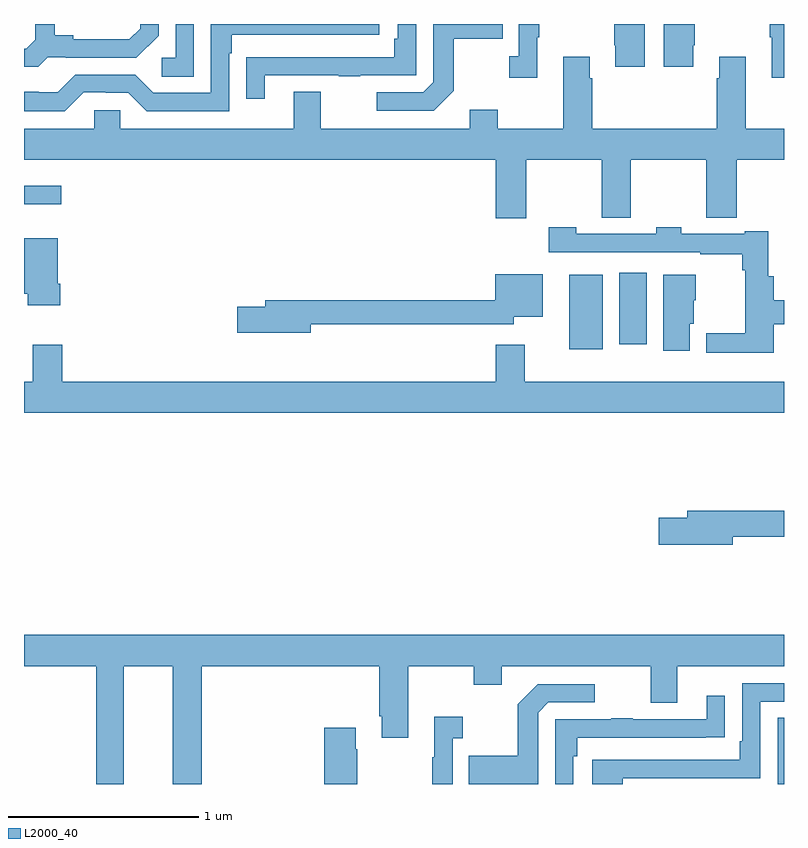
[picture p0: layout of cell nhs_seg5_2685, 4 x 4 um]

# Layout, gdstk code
import gdstk
lib = gdstk.Library(unit=1e-6, precision=1e-09)
def R(c, l, rs):  # rectangles x0, y0, x1, y1
    for r in rs: c.add(gdstk.rectangle(r[:2], r[2:], *l))
def P(c, l, *ps):  # polygons
    for p in ps: c.add(gdstk.Polygon(p, *l))
L2000_40 = (2000, 40)

nhs_seg5_2685 = lib.new_cell('nhs_seg5_2685')
R(nhs_seg5_2685, L2000_40, [(270.966,862.799,271,863.147), (269.87,865.088,270.046,865.48), (270.134,865.113,270.277,865.489), (267,865.851,267.196,865.948)])
P(nhs_seg5_2685, L2000_40, [(267.315,866.439),(267.431,866.439),(267.431,866.436),(267.549,866.436),(267.645,866.34),(268.08,866.34),(268.08,866.645),(268.093,866.645),(268.093,866.742),(268.87,866.742),(268.87,866.799),(267.984,866.799),(267.984,866.436),(267.681,866.436),(267.585,866.532),(267.27,866.532),(267.177,866.439),(267.077,866.439),(267.077,866.443),(267,866.443),(267,866.339),(267.215,866.339)],
  [(269.701,866.729),(269.713,866.729),(269.713,866.799),(269.604,866.799),(269.604,866.63),(269.553,866.63),(269.553,866.517),(269.701,866.517)],
  [(270.268,866.799),(270.106,866.799),(270.106,866.686),(270.113,866.686),(270.113,866.574),(270.268,866.574)],
  [(267.894,866.799),(267.798,866.799),(267.798,866.622),(267.726,866.622),(267.726,866.521),(267.894,866.521)],
  [(270.523,866.686),(270.531,866.686),(270.531,866.799),(270.368,866.799),(270.368,866.574),(270.523,866.574)],
  [(269.263,866.449),(269.263,866.722),(269.519,866.722),(269.519,866.799),(269.154,866.799),(269.154,866.493),(269.1,866.439),(268.857,866.439),(268.857,866.343),(269.157,866.343)],
  [(267.126,866.625),(267.22,866.625),(267.22,866.622),(267.592,866.622),(267.708,866.738),(267.708,866.799),(267.611,866.799),(267.611,866.775),(267.554,866.718),(267.259,866.718),(267.259,866.741),(267.163,866.741),(267.163,866.799),(267.059,866.799),(267.059,866.717),(267.012,866.67),(267,866.67),(267,866.573),(267.074,866.573)],
  [(271,866.799),(270.924,866.799),(270.924,866.729),(270.935,866.729),(270.935,866.517),(271,866.517)],
  [(268.267,866.529),(268.657,866.529),(268.657,866.524),(268.769,866.524),(268.769,866.529),(269.064,866.529),(269.064,866.799),(268.968,866.799),(268.968,866.722),(268.948,866.722),(268.948,866.625),(268.273,866.625),(268.273,866.624),(268.171,866.624),(268.171,866.406),(268.267,866.406)],
  [(269.643,866.084),(270.04,866.084),(270.04,865.78),(270.194,865.78),(270.194,866.084),(270.592,866.084),(270.592,865.78),(270.752,865.78),(270.752,866.084),(271,866.084),(271,866.248),(270.799,866.248),(270.799,866.626),(270.659,866.626),(270.659,866.513),(270.647,866.513),(270.647,866.248),(269.99,866.248),(269.99,866.513),(269.977,866.513),(269.977,866.626),(269.837,866.626),(269.837,866.248),(269.493,866.248),(269.493,866.347),(269.345,866.347),(269.345,866.248),(268.561,866.248),(268.561,866.443),(268.421,866.443),(268.421,866.248),(267.507,866.248),(267.507,866.346),(267.369,866.346),(267.369,866.248),(267,866.248),(267,866.084),(269.483,866.084),(269.483,865.776),(269.643,865.776)],
  [(270.947,865.218),(271,865.218),(271,865.346),(270.947,865.346),(270.947,865.471),(270.917,865.471),(270.917,865.708),(270.794,865.708),(270.794,865.695),(270.459,865.695),(270.459,865.728),(270.327,865.728),(270.327,865.695),(269.907,865.695),(269.907,865.728),(269.763,865.728),(269.763,865.599),(270.559,865.599),(270.559,865.587),(270.781,865.587),(270.781,865.502),(270.796,865.502),(270.796,865.172),(270.591,865.172),(270.591,865.07),(270.947,865.07)],
  [(267.191,865.432),(267.178,865.432),(267.178,865.672),(267,865.672),(267,865.38),(267.02,865.38),(267.02,865.32),(267.191,865.32)],
  [(268.51,865.218),(269.578,865.218),(269.578,865.259),(269.731,865.259),(269.731,865.483),(269.48,865.483),(269.48,865.346),(268.271,865.346),(268.271,865.31),(268.122,865.31),(268.122,865.175),(268.51,865.175)],
  [(270.505,865.221),(270.526,865.221),(270.526,865.344),(270.535,865.344),(270.535,865.48),(270.365,865.48),(270.365,865.08),(270.505,865.08)],
  [(271,864.916),(269.635,864.916),(269.635,865.111),(269.483,865.111),(269.483,864.916),(267.2,864.916),(267.2,865.111),(267.047,865.111),(267.047,864.916),(267,864.916),(267,864.752),(271,864.752)],
  [(270.73,864.1),(271,864.1),(271,864.236),(270.491,864.236),(270.491,864.2),(270.342,864.2),(270.342,864.058),(270.73,864.058)],
  [(267.526,863.42),(267.782,863.42),(267.782,862.799),(267.935,862.799),(267.935,863.42),(268.871,863.42),(268.871,863.155),(268.883,863.155),(268.883,863.043),(269.023,863.043),(269.023,863.42),(269.368,863.42),(269.368,863.321),(269.515,863.321),(269.515,863.42),(270.299,863.42),(270.299,863.226),(270.439,863.226),(270.439,863.42),(271,863.42),(271,863.584),(267,863.584),(267,863.42),(267.379,863.42),(267.379,862.799),(267.526,862.799)],
  [(270.152,862.83),(270.876,862.83),(270.876,863.232),(271,863.232),(271,863.328),(270.78,863.328),(270.78,863.023),(270.767,863.023),(270.767,862.926),(269.991,862.926),(269.991,862.799),(270.152,862.799)],
  [(269.706,863.175),(269.76,863.229),(270.004,863.229),(270.004,863.325),(269.703,863.325),(269.598,863.219),(269.598,862.947),(269.341,862.947),(269.341,862.799),(269.706,862.799)],
  [(269.892,862.946),(269.912,862.946),(269.912,863.043),(270.587,863.043),(270.587,863.044),(270.689,863.044),(270.689,863.263),(270.593,863.263),(270.593,863.139),(270.203,863.139),(270.203,863.144),(270.091,863.144),(270.091,863.139),(269.796,863.139),(269.796,862.799),(269.892,862.799)],
  [(269.256,863.039),(269.308,863.039),(269.308,863.152),(269.159,863.152),(269.159,862.939),(269.148,862.939),(269.148,862.799),(269.256,862.799)],
  [(268.755,862.982),(268.747,862.982),(268.747,863.095),(268.58,863.095),(268.58,862.799),(268.755,862.799)])

lib.write_gds('nhs_seg5_2685.gds')
